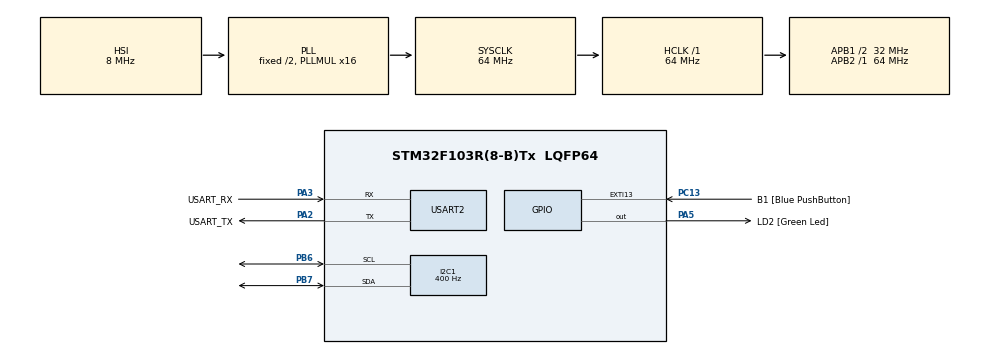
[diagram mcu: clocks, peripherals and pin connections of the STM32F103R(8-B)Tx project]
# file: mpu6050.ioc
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I2C1.ClockSpeed=400
I2C1.I2C_Mode=I2C_Fast
Mcu.Family=STM32F1
Mcu.Name=STM32F103R(8-B)Tx
Mcu.Package=LQFP64
NVIC.EXTI15_10_IRQn=true\:0\:0\:false\:false\:true\:true\:true
NVIC.PriorityGroup=NVIC_PRIORITYGROUP_4
PA13.GPIO_Label=TMS
PA13.Mode=Serial_Wire
PA13.Signal=SYS_JTMS-SWDIO
PA14.GPIO_Label=TCK
PA14.Mode=Serial_Wire
PA14.Signal=SYS_JTCK-SWCLK
PA2.GPIO_Label=USART_TX
PA2.GPIO_Mode=GPIO_MODE_AF_PP
PA2.GPIO_PuPd=GPIO_NOPULL
PA2.GPIO_Speed=GPIO_SPEED_FREQ_LOW
PA2.Mode=Asynchronous
PA2.Signal=USART2_TX
PA3.GPIO_Label=USART_RX
PA3.GPIO_Mode=GPIO_MODE_AF_PP
PA3.GPIO_PuPd=GPIO_NOPULL
PA3.GPIO_Speed=GPIO_SPEED_FREQ_LOW
PA3.Mode=Asynchronous
PA3.Signal=USART2_RX
PA5.GPIO_Label=LD2 [Green Led]
PA5.GPIO_ModeDefaultOutputPP=GPIO_MODE_OUTPUT_PP
PA5.GPIO_PuPd=GPIO_NOPULL
PA5.GPIO_Speed=GPIO_SPEED_FREQ_LOW
PA5.Signal=GPIO_Output
PB3.GPIO_Label=SWO
PB3.Signal=SYS_JTDO-TRACESWO
PB6.Mode=I2C
PB6.Signal=I2C1_SCL
PB7.Mode=I2C
PB7.Signal=I2C1_SDA
PC13-TAMPER-RTC.GPIO_Label=B1 [Blue PushButton]
PC13-TAMPER-RTC.GPIO_PuPd=GPIO_NOPULL
PC13-TAMPER-RTC.Signal=GPXTI13
PC14-OSC32_IN.Mode=LSE-External-Oscillator
PC14-OSC32_IN.Signal=RCC_OSC32_IN
PC15-OSC32_OUT.Mode=LSE-External-Oscillator
PC15-OSC32_OUT.Signal=RCC_OSC32_OUT
PD0-OSC_IN.Mode=HSE-External-Clock-Source
PD0-OSC_IN.Signal=RCC_OSC_IN
PD1-OSC_OUT.Mode=HSE-External-Clock-Source
PD1-OSC_OUT.Signal=RCC_OSC_OUT
ProjectManager.HeapSize=0x200
ProjectManager.StackSize=0x400
ProjectManager.TargetToolchain=MDK-ARM V5
RCC.AHBFreq_Value=64000000
RCC.APB1CLKDivider=RCC_HCLK_DIV2
RCC.APB1Freq_Value=32000000
RCC.APB1TimFreq_Value=64000000
RCC.APB2Freq_Value=64000000
RCC.APB2TimFreq_Value=64000000
RCC.HCLKFreq_Value=64000000
RCC.PLLMUL=RCC_PLL_MUL16
RCC.RTCClockSelection=RCC_RTCCLKSOURCE_LSE
RCC.SYSCLKFreq_VALUE=64000000
RCC.SYSCLKSource=RCC_SYSCLKSOURCE_PLLCLK
RCC.USBFreq_Value=64000000
USART2.VirtualMode=VM_ASYNC
board=NUCLEO-F103RB

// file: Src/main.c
/* USER CODE BEGIN Header */
/**
  ******************************************************************************
  * @file           : main.c
  * @brief          : Main program body
  ******************************************************************************
  * @attention
  *
  * <h2><center>&copy; Copyright (c) 2019 STMicroelectronics.
  * All rights reserved.</center></h2>
  *
  * This software component is licensed by ST under BSD 3-Clause license,
  * the "License"; You may not use this file except in compliance with the
  * License. You may obtain a copy of the License at:
  *                        opensource.org/licenses/BSD-3-Clause
  *
  ******************************************************************************
  */
/* USER CODE END Header */

#include "main.h"

/* USER CODE BEGIN Includes */
#include "MPU6050.h"
#include "stdio.h"
#include "math.h"
/* USER CODE END Includes */

I2C_HandleTypeDef hi2c1;

UART_HandleTypeDef huart2;

/* USER CODE BEGIN PV */
int16_t Accel_X, Accel_Y, Accel_Z;
int16_t Gyro_X, Gyro_Y, Gyro_Z;
float Ac_X1, Ac_Y1, Ac_Z1, Gy_X1, Gy_Y1, Gy_Z1;
float Ac_X2, Ac_Y2, Ac_Z2;
float Deg_X, Deg_Y, Deg_Z, Deg_XC, Deg_YC, Deg_ZC;
uint8_t MPU6050 = 0;

#define M_PI  (180.0/3.141592)
/* USER CODE END PV */

void SystemClock_Config(void);
static void MX_GPIO_Init(void);
static void MX_I2C1_Init(void);
static void MX_USART2_UART_Init(void);

/* USER CODE BEGIN 0 */
#define MPU6050  MPU6050_DEFAULT_ADDRESS

void MPU6050_Write(uint8_t Address, uint8_t data){
    HAL_I2C_Mem_Write(&hi2c1, MPU6050, Address, 1, (uint8_t *)&data, 1, 10);
}

void MPU6050_Write_bits(uint8_t Address, uint8_t bitStart, uint8_t length, uint8_t data){
    uint8_t tmp = 0;
    HAL_I2C_Mem_Read(&hi2c1, MPU6050, Address, 1, (uint8_t *)&tmp, 1, 10);
    uint8_t mask = 0;
    switch(length){
        case 1: mask = 0x01; break;
        case 2: mask = 0x03; break;
        case 3: mask = 0x07; break;
        case 4: mask = 0x0F; break;
        case 5: mask = 0x1F; break;
        case 6: mask = 0x3F; break;
        case 7: mask = 0x7F; break;
        case 8: mask = 0xFF; break;
    }
    tmp &= ~(mask << bitStart);
    tmp |= (data << bitStart);
    HAL_I2C_Mem_Write(&hi2c1, MPU6050, Address, 1, (uint8_t *)&tmp, 1, 10);
}

uint8_t MPU6050_Read(uint8_t Address){
    uint8_t data = 0;
    HAL_I2C_Mem_Read(&hi2c1, MPU6050, Address, 1, (uint8_t *)&data, 1, 10);
    return data;
}

void init_MPU6050(void){
    uint8_t temp = MPU6050_Read(MPU6050_RA_WHO_AM_I);
    printf("Who am I = 0x%02X\r\n", temp);
    printf("MPU6050 Initialize..... \r\n");
    printf("------------------------\r\n");

    HAL_Delay(100);
    MPU6050_Write_bits(MPU6050_RA_PWR_MGMT_1, MPU6050_PWR1_SLEEP_BIT, 0x01, DISABLE); // SetSleepModeStatus
    HAL_Delay(10);
    MPU6050_Write_bits(MPU6050_RA_PWR_MGMT_1, MPU6050_PWR1_CLKSEL_BIT, MPU6050_PWR1_CLKSEL_LENGTH, MPU6050_CLOCK_PLL_XGYRO);      // SetClockSource
    MPU6050_Write_bits(MPU6050_RA_GYRO_CONFIG, MPU6050_GCONFIG_FS_SEL_BIT, MPU6050_GCONFIG_FS_SEL_LENGTH, MPU6050_GYRO_FS_250);   // SetFullScaleGyroRange
    MPU6050_Write_bits(MPU6050_RA_ACCEL_CONFIG, MPU6050_ACONFIG_AFS_SEL_BIT, MPU6050_ACONFIG_AFS_SEL_LENGTH, MPU6050_ACCEL_FS_2); // SetFullScaleAccelRange
}

void read_MPU6050_data(void){
    Accel_X = (MPU6050_Read(MPU6050_RA_ACCEL_XOUT_H)<<8) | MPU6050_Read(MPU6050_RA_ACCEL_XOUT_L);
    Accel_Y = (MPU6050_Read(MPU6050_RA_ACCEL_YOUT_H)<<8) | MPU6050_Read(MPU6050_RA_ACCEL_YOUT_L);
    Accel_Z = (MPU6050_Read(MPU6050_RA_ACCEL_ZOUT_H)<<8) | MPU6050_Read(MPU6050_RA_ACCEL_ZOUT_L);
    Gyro_X  = (MPU6050_Read(MPU6050_RA_GYRO_XOUT_H)<<8) | MPU6050_Read(MPU6050_RA_GYRO_XOUT_L);
    Gyro_Y  = (MPU6050_Read(MPU6050_RA_GYRO_YOUT_H)<<8) | MPU6050_Read(MPU6050_RA_GYRO_YOUT_L);
    Gyro_Z  = (MPU6050_Read(MPU6050_RA_GYRO_ZOUT_H)<<8) | MPU6050_Read(MPU6050_RA_GYRO_ZOUT_L);
}

int _write(int32_t file, uint8_t *ptr, int32_t len){
    HAL_UART_Transmit(&huart2, ptr, len, 10);
    return len;
}

int fputc(int ch,FILE *f)
{
	HAL_UART_Transmit(&huart2, (uint8_t*)&ch, 1 , 0xFFFF);
	return ch;
}
/* USER CODE END 0 */

int main(void)
{

  /* MCU Configuration--------------------------------------------------------*/

  /* Reset of all peripherals, Initializes the Flash interface and the Systick. */
  HAL_Init();

  /* Configure the system clock */
  SystemClock_Config();

  /* Initialize all configured peripherals */
  MX_GPIO_Init();
  MX_I2C1_Init();
  MX_USART2_UART_Init();
  /* USER CODE BEGIN 2 */
	init_MPU6050();
  /* USER CODE END 2 */

  /* Infinite loop */
  while (1)
  {

    /* USER CODE BEGIN 3 */
		/*
		read_MPU6050_data();
    printf("Accel_X = %6d / Accel_Y = %6d / Accel_Z = %6d \r\n", Accel_X, Accel_Y, Accel_Z);
    printf("Gyro_X  = %6d / Gyro_Y  = %6d / Gyro_Z  = %6d \r\n", Gyro_X, Gyro_Y, Gyro_Z);
    //printf("%6d,%6d,%6d \r\n", Gyro_X, Gyro_Y, Gyro_Z);//processing usart code

		printf("--------------------------------------------------------\r\n");
    HAL_Delay(200);
		*/

		static uint16_t cnt=1;
    read_MPU6050_data();
    Ac_X1 = (float)Accel_X / 6384.0;
    Ac_Y1 = (float)Accel_Y / 6384.0;
    Ac_Z1 = (float)Accel_Z / 6384.0;
    Gy_X1 = (float)Gyro_X / 131.0;
    Gy_Y1 = (float)Gyro_Y / 131.0;
    Gy_Z1 = (float)Gyro_Z / 131.0;

    Ac_X2 = Ac_X2 * ((float)cnt-1) / (float)cnt + Ac_X1 / (float)cnt;
    Ac_Y2 = Ac_Y2 * ((float)cnt-1) / (float)cnt + Ac_Y1 / (float)cnt;
    Ac_Z2 = Ac_Z2 * ((float)cnt-1) / (float)cnt + Ac_Z1 / (float)cnt;

    Deg_X = atan(Ac_Y1 / sqrt(pow(Ac_X1, 2) + pow(Ac_Z1, 2))) * 180.0 / M_PI;
    Deg_Y = atan(Ac_X1 / sqrt(pow(Ac_Y1, 2) + pow(Ac_Z1, 2))) * 180.0 / M_PI;
    Deg_Z = atan(sqrt(pow(Ac_X1, 2) + pow(Ac_Y1, 2)) / Ac_Z1) * 180.0 / M_PI;

    /* Complementary filter */
    Deg_XC = 0.98 * (Deg_XC + Gy_X1 * 0.005) + 0.02 * Deg_X;
    Deg_YC = 0.98 * (Deg_YC + Gy_Y1 * 0.005) + 0.02 * Deg_Y;
    Deg_ZC = 0.98 * Deg_ZC + 0.02 * Deg_Z;

    printf("%5.2f, %5.2f, %5.2f\r\n", Deg_XC, Deg_YC, Deg_ZC);

    HAL_GPIO_WritePin(LD2_GPIO_Port, LD2_Pin, GPIO_PIN_RESET);
    HAL_Delay(5);
    if(++cnt>20) cnt=20;
	}
  /* USER CODE END 3 */
}

void SystemClock_Config(void)
{
  RCC_OscInitTypeDef RCC_OscInitStruct = {0};
  RCC_ClkInitTypeDef RCC_ClkInitStruct = {0};

  /** Initializes the CPU, AHB and APB busses clocks
  */
  RCC_OscInitStruct.OscillatorType = RCC_OSCILLATORTYPE_HSI;
  RCC_OscInitStruct.HSIState = RCC_HSI_ON;
  RCC_OscInitStruct.HSICalibrationValue = RCC_HSICALIBRATION_DEFAULT;
  RCC_OscInitStruct.PLL.PLLState = RCC_PLL_ON;
  RCC_OscInitStruct.PLL.PLLSource = RCC_PLLSOURCE_HSI_DIV2;
  RCC_OscInitStruct.PLL.PLLMUL = RCC_PLL_MUL16;
  if (HAL_RCC_OscConfig(&RCC_OscInitStruct) != HAL_OK)
  {
    Error_Handler();
  }
  /** Initializes the CPU, AHB and APB busses clocks
  */
  RCC_ClkInitStruct.ClockType = RCC_CLOCKTYPE_HCLK|RCC_CLOCKTYPE_SYSCLK
                              |RCC_CLOCKTYPE_PCLK1|RCC_CLOCKTYPE_PCLK2;
  RCC_ClkInitStruct.SYSCLKSource = RCC_SYSCLKSOURCE_PLLCLK;
  RCC_ClkInitStruct.AHBCLKDivider = RCC_SYSCLK_DIV1;
  RCC_ClkInitStruct.APB1CLKDivider = RCC_HCLK_DIV2;
  RCC_ClkInitStruct.APB2CLKDivider = RCC_HCLK_DIV1;

  if (HAL_RCC_ClockConfig(&RCC_ClkInitStruct, FLASH_LATENCY_2) != HAL_OK)
  {
    Error_Handler();
  }
}

static void MX_I2C1_Init(void)
{

  hi2c1.Instance = I2C1;
  hi2c1.Init.ClockSpeed = 400;
  hi2c1.Init.DutyCycle = I2C_DUTYCYCLE_2;
  hi2c1.Init.OwnAddress1 = 0;
  hi2c1.Init.AddressingMode = I2C_ADDRESSINGMODE_7BIT;
  hi2c1.Init.DualAddressMode = I2C_DUALADDRESS_DISABLE;
  hi2c1.Init.OwnAddress2 = 0;
  hi2c1.Init.GeneralCallMode = I2C_GENERALCALL_DISABLE;
  hi2c1.Init.NoStretchMode = I2C_NOSTRETCH_DISABLE;
  if (HAL_I2C_Init(&hi2c1) != HAL_OK)
  {
    Error_Handler();
  }

}

static void MX_USART2_UART_Init(void)
{

  huart2.Instance = USART2;
  huart2.Init.BaudRate = 115200;
  huart2.Init.WordLength = UART_WORDLENGTH_8B;
  huart2.Init.StopBits = UART_STOPBITS_1;
  huart2.Init.Parity = UART_PARITY_NONE;
  huart2.Init.Mode = UART_MODE_TX_RX;
  huart2.Init.HwFlowCtl = UART_HWCONTROL_NONE;
  huart2.Init.OverSampling = UART_OVERSAMPLING_16;
  if (HAL_UART_Init(&huart2) != HAL_OK)
  {
    Error_Handler();
  }

}

static void MX_GPIO_Init(void)
{
  GPIO_InitTypeDef GPIO_InitStruct = {0};

  /* GPIO Ports Clock Enable */
  __HAL_RCC_GPIOC_CLK_ENABLE();
  __HAL_RCC_GPIOD_CLK_ENABLE();
  __HAL_RCC_GPIOA_CLK_ENABLE();
  __HAL_RCC_GPIOB_CLK_ENABLE();

  /*Configure GPIO pin Output Level */
  HAL_GPIO_WritePin(LD2_GPIO_Port, LD2_Pin, GPIO_PIN_RESET);

  /*Configure GPIO pin : B1_Pin */
  GPIO_InitStruct.Pin = B1_Pin;
  GPIO_InitStruct.Mode = GPIO_MODE_IT_RISING;
  GPIO_InitStruct.Pull = GPIO_NOPULL;
  HAL_GPIO_Init(B1_GPIO_Port, &GPIO_InitStruct);

  /*Configure GPIO pin : LD2_Pin */
  GPIO_InitStruct.Pin = LD2_Pin;
  GPIO_InitStruct.Mode = GPIO_MODE_OUTPUT_PP;
  GPIO_InitStruct.Pull = GPIO_NOPULL;
  GPIO_InitStruct.Speed = GPIO_SPEED_FREQ_LOW;
  HAL_GPIO_Init(LD2_GPIO_Port, &GPIO_InitStruct);

  /* EXTI interrupt init*/
  HAL_NVIC_SetPriority(EXTI15_10_IRQn, 0, 0);
  HAL_NVIC_EnableIRQ(EXTI15_10_IRQn);

}

void Error_Handler(void)
{
}

/************************ (C) COPYRIGHT STMicroelectronics *****END OF FILE****/
